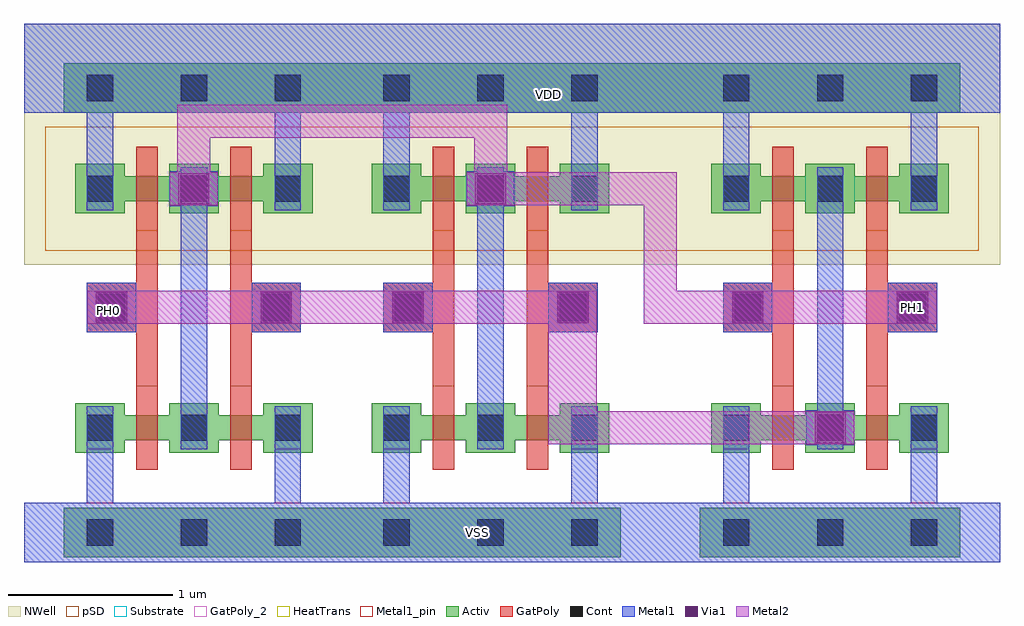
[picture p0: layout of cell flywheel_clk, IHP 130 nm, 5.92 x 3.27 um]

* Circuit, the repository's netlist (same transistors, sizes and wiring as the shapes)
* Extracted by KLayout with SG13G2 LVS runset on : 04/03/2026 01:28

.SUBCKT flywheel_clk PH0 VSS PH1 VDD
X$1 PH1 VSS VDD PH0 inv_d4
X$2 PH1 VSS VDD PH0 inv_d2
.ENDS flywheel_clk

.SUBCKT inv_d4 VOUT VSS VDD VIN
X$1 VIN VSS VDD VOUT inv_d2
X$2 VIN VSS VDD VOUT inv_d2
.ENDS inv_d4

.SUBCKT inv_d2 VIN VSS VDD VOUT
M$1 VSS VIN VOUT VSS sg13_lv_nmos L=0.13u W=0.3u AS=0.156p AD=0.156p PS=2.08u
+ PD=2.08u
M$3 VDD VIN VOUT VDD sg13_lv_pmos L=0.13u W=0.3u AS=0.156p AD=0.156p PS=2.08u
+ PD=2.08u
.ENDS inv_d2

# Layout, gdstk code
from math import pi, radians
import gdstk
lib = gdstk.Library(unit=1e-6, precision=5e-09)
def R(c, l, rs):  # rectangles x0, y0, x1, y1
    for r in rs: c.add(gdstk.rectangle(r[:2], r[2:], *l))
Activ = (1, 0)
GatPoly = (5, 0)
GatPoly_2 = (5, 2)
Cont = (6, 0)
Metal1 = (8, 0)
Metal1_pin = (8, 2)
Metal2 = (10, 0)
pSD = (14, 0)
Via1 = (19, 0)
NWell = (31, 0)
Substrate = (40, 0)
HeatTrans = (51, 0)

pmos_1 = lib.new_cell('pmos$1')
R(pmos_1, Activ, [(0,0,0.3,0.3), (0.57,0,0.87,0.3), (0,0.075,0.87,0.225)])
R(pmos_1, GatPoly, [(0.37,-0.105,0.5,0.405), (0.37,-0.105,0.5,0.405)])
R(pmos_1, Cont, [(0.07,0.07,0.23,0.23), (0.64,0.07,0.8,0.23)])
R(pmos_1, Metal1, [(0.07,0.02,0.23,0.28), (0.07,0.02,0.23,0.28), (0.64,0.02,0.8,0.28), (0.64,0.02,0.8,0.28)])
R(pmos_1, pSD, [(-0.18,-0.225,1.05,0.525)])
R(pmos_1, NWell, [(-0.31,-0.31,1.18,0.61)])
R(pmos_1, Substrate, [(0.57,0,0.87,0.3)])
R(pmos_1, HeatTrans, [(0.37,-0.105,0.5,0.405)])
pmos_1.add(gdstk.Label('pmos', (0.435,0.15), layer=63, texttype=0))
pmos_1.add(gdstk.Label('pmos', (0.435,0.15), layer=51, texttype=0))

nmos_1 = lib.new_cell('nmos$1')
R(nmos_1, Activ, [(0,0,0.3,0.3), (0.57,0,0.87,0.3), (0,0.075,0.87,0.225)])
R(nmos_1, GatPoly, [(0.37,-0.105,0.5,0.405)])
R(nmos_1, GatPoly_2, [(0.37,-0.105,0.5,0.405)])
R(nmos_1, Cont, [(0.07,0.07,0.23,0.23), (0.64,0.07,0.8,0.23)])
R(nmos_1, Metal1, [(0.07,0.02,0.23,0.28), (0.64,0.02,0.8,0.28)])
R(nmos_1, Metal1_pin, [(0.07,0.02,0.23,0.28), (0.64,0.02,0.8,0.28)])
R(nmos_1, HeatTrans, [(0.37,-0.105,0.5,0.405)])
nmos_1.add(gdstk.Label('nmos', (0.435,0.15), layer=63, texttype=0))
nmos_1.add(gdstk.Label('nmos', (0.435,0.15), layer=51, texttype=0))

pmos_1_1 = lib.new_cell('pmos$1$1')
R(pmos_1_1, Activ, [(0,0,0.3,0.3), (0.57,0,0.87,0.3), (0,0.075,0.87,0.225)])
R(pmos_1_1, GatPoly, [(0.37,-0.105,0.5,0.405), (0.37,-0.105,0.5,0.405)])
R(pmos_1_1, Cont, [(0.07,0.07,0.23,0.23), (0.64,0.07,0.8,0.23)])
R(pmos_1_1, Metal1, [(0.07,0.02,0.23,0.28), (0.07,0.02,0.23,0.28), (0.64,0.02,0.8,0.28), (0.64,0.02,0.8,0.28)])
R(pmos_1_1, pSD, [(-0.18,-0.225,1.05,0.525)])
R(pmos_1_1, NWell, [(-0.31,-0.31,1.18,0.61)])
R(pmos_1_1, Substrate, [(0.57,0,0.87,0.3)])
R(pmos_1_1, HeatTrans, [(0.37,-0.105,0.5,0.405)])
pmos_1_1.add(gdstk.Label('pmos', (0.435,0.15), layer=63, texttype=0))
pmos_1_1.add(gdstk.Label('pmos', (0.435,0.15), layer=51, texttype=0))

nmos_1_1 = lib.new_cell('nmos$1$1')
R(nmos_1_1, Activ, [(0,0,0.3,0.3), (0.57,0,0.87,0.3), (0,0.075,0.87,0.225)])
R(nmos_1_1, GatPoly, [(0.37,-0.105,0.5,0.405)])
R(nmos_1_1, GatPoly_2, [(0.37,-0.105,0.5,0.405)])
R(nmos_1_1, Cont, [(0.07,0.07,0.23,0.23), (0.64,0.07,0.8,0.23)])
R(nmos_1_1, Metal1, [(0.07,0.02,0.23,0.28), (0.64,0.02,0.8,0.28)])
R(nmos_1_1, Metal1_pin, [(0.07,0.02,0.23,0.28), (0.64,0.02,0.8,0.28)])
R(nmos_1_1, HeatTrans, [(0.37,-0.105,0.5,0.405)])
nmos_1_1.add(gdstk.Label('nmos', (0.435,0.15), layer=63, texttype=0))
nmos_1_1.add(gdstk.Label('nmos', (0.435,0.15), layer=51, texttype=0))

pmos_1_2 = lib.new_cell('pmos$1$2')
R(pmos_1_2, Activ, [(0,0,0.3,0.3), (0.57,0,0.87,0.3), (0,0.075,0.87,0.225)])
R(pmos_1_2, GatPoly, [(0.37,-0.105,0.5,0.405), (0.37,-0.105,0.5,0.405)])
R(pmos_1_2, Cont, [(0.07,0.07,0.23,0.23), (0.64,0.07,0.8,0.23)])
R(pmos_1_2, Metal1, [(0.07,0.02,0.23,0.28), (0.07,0.02,0.23,0.28), (0.64,0.02,0.8,0.28), (0.64,0.02,0.8,0.28)])
R(pmos_1_2, pSD, [(-0.18,-0.225,1.05,0.525)])
R(pmos_1_2, NWell, [(-0.31,-0.31,1.18,0.61)])
R(pmos_1_2, Substrate, [(0.57,0,0.87,0.3)])
R(pmos_1_2, HeatTrans, [(0.37,-0.105,0.5,0.405)])
pmos_1_2.add(gdstk.Label('pmos', (0.435,0.15), layer=63, texttype=0))
pmos_1_2.add(gdstk.Label('pmos', (0.435,0.15), layer=51, texttype=0))

nmos_1_2 = lib.new_cell('nmos$1$2')
R(nmos_1_2, Activ, [(0,0,0.3,0.3), (0.57,0,0.87,0.3), (0,0.075,0.87,0.225)])
R(nmos_1_2, GatPoly, [(0.37,-0.105,0.5,0.405)])
R(nmos_1_2, GatPoly_2, [(0.37,-0.105,0.5,0.405)])
R(nmos_1_2, Cont, [(0.07,0.07,0.23,0.23), (0.64,0.07,0.8,0.23)])
R(nmos_1_2, Metal1, [(0.07,0.02,0.23,0.28), (0.64,0.02,0.8,0.28)])
R(nmos_1_2, Metal1_pin, [(0.07,0.02,0.23,0.28), (0.64,0.02,0.8,0.28)])
R(nmos_1_2, HeatTrans, [(0.37,-0.105,0.5,0.405)])
nmos_1_2.add(gdstk.Label('nmos', (0.435,0.15), layer=63, texttype=0))
nmos_1_2.add(gdstk.Label('nmos', (0.435,0.15), layer=51, texttype=0))

pmos_1_3 = lib.new_cell('pmos$1$3')
R(pmos_1_3, Activ, [(0,0,0.3,0.3), (0.57,0,0.87,0.3), (0,0.075,0.87,0.225)])
R(pmos_1_3, GatPoly, [(0.37,-0.105,0.5,0.405), (0.37,-0.105,0.5,0.405)])
R(pmos_1_3, Cont, [(0.07,0.07,0.23,0.23), (0.64,0.07,0.8,0.23)])
R(pmos_1_3, Metal1, [(0.07,0.02,0.23,0.28), (0.07,0.02,0.23,0.28), (0.64,0.02,0.8,0.28), (0.64,0.02,0.8,0.28)])
R(pmos_1_3, pSD, [(-0.18,-0.225,1.05,0.525)])
R(pmos_1_3, NWell, [(-0.31,-0.31,1.18,0.61)])
R(pmos_1_3, Substrate, [(0.57,0,0.87,0.3)])
R(pmos_1_3, HeatTrans, [(0.37,-0.105,0.5,0.405)])
pmos_1_3.add(gdstk.Label('pmos', (0.435,0.15), layer=63, texttype=0))
pmos_1_3.add(gdstk.Label('pmos', (0.435,0.15), layer=51, texttype=0))

nmos_1_3 = lib.new_cell('nmos$1$3')
R(nmos_1_3, Activ, [(0,0,0.3,0.3), (0.57,0,0.87,0.3), (0,0.075,0.87,0.225)])
R(nmos_1_3, GatPoly, [(0.37,-0.105,0.5,0.405)])
R(nmos_1_3, GatPoly_2, [(0.37,-0.105,0.5,0.405)])
R(nmos_1_3, Cont, [(0.07,0.07,0.23,0.23), (0.64,0.07,0.8,0.23)])
R(nmos_1_3, Metal1, [(0.07,0.02,0.23,0.28), (0.64,0.02,0.8,0.28)])
R(nmos_1_3, Metal1_pin, [(0.07,0.02,0.23,0.28), (0.64,0.02,0.8,0.28)])
R(nmos_1_3, HeatTrans, [(0.37,-0.105,0.5,0.405)])
nmos_1_3.add(gdstk.Label('nmos', (0.435,0.15), layer=63, texttype=0))
nmos_1_3.add(gdstk.Label('nmos', (0.435,0.15), layer=51, texttype=0))

pmos_1_4 = lib.new_cell('pmos$1$4')
R(pmos_1_4, Activ, [(0,0,0.3,0.3), (0.57,0,0.87,0.3), (0,0.075,0.87,0.225)])
R(pmos_1_4, GatPoly, [(0.37,-0.105,0.5,0.405), (0.37,-0.105,0.5,0.405)])
R(pmos_1_4, Cont, [(0.07,0.07,0.23,0.23), (0.64,0.07,0.8,0.23)])
R(pmos_1_4, Metal1, [(0.07,0.02,0.23,0.28), (0.07,0.02,0.23,0.28), (0.64,0.02,0.8,0.28), (0.64,0.02,0.8,0.28)])
R(pmos_1_4, pSD, [(-0.18,-0.225,1.05,0.525)])
R(pmos_1_4, NWell, [(-0.31,-0.31,1.18,0.61)])
R(pmos_1_4, Substrate, [(0.57,0,0.87,0.3)])
R(pmos_1_4, HeatTrans, [(0.37,-0.105,0.5,0.405)])
pmos_1_4.add(gdstk.Label('pmos', (0.435,0.15), layer=63, texttype=0))
pmos_1_4.add(gdstk.Label('pmos', (0.435,0.15), layer=51, texttype=0))

nmos_1_4 = lib.new_cell('nmos$1$4')
R(nmos_1_4, Activ, [(0,0,0.3,0.3), (0.57,0,0.87,0.3), (0,0.075,0.87,0.225)])
R(nmos_1_4, GatPoly, [(0.37,-0.105,0.5,0.405)])
R(nmos_1_4, GatPoly_2, [(0.37,-0.105,0.5,0.405)])
R(nmos_1_4, Cont, [(0.07,0.07,0.23,0.23), (0.64,0.07,0.8,0.23)])
R(nmos_1_4, Metal1, [(0.07,0.02,0.23,0.28), (0.64,0.02,0.8,0.28)])
R(nmos_1_4, Metal1_pin, [(0.07,0.02,0.23,0.28), (0.64,0.02,0.8,0.28)])
R(nmos_1_4, HeatTrans, [(0.37,-0.105,0.5,0.405)])
nmos_1_4.add(gdstk.Label('nmos', (0.435,0.15), layer=63, texttype=0))
nmos_1_4.add(gdstk.Label('nmos', (0.435,0.15), layer=51, texttype=0))

pmos_1_1_1 = lib.new_cell('pmos$1$1$1')
R(pmos_1_1_1, Activ, [(0,0,0.3,0.3), (0.57,0,0.87,0.3), (0,0.075,0.87,0.225)])
R(pmos_1_1_1, GatPoly, [(0.37,-0.105,0.5,0.405), (0.37,-0.105,0.5,0.405)])
R(pmos_1_1_1, Cont, [(0.07,0.07,0.23,0.23), (0.64,0.07,0.8,0.23)])
R(pmos_1_1_1, Metal1, [(0.07,0.02,0.23,0.28), (0.07,0.02,0.23,0.28), (0.64,0.02,0.8,0.28), (0.64,0.02,0.8,0.28)])
R(pmos_1_1_1, pSD, [(-0.18,-0.225,1.05,0.525)])
R(pmos_1_1_1, NWell, [(-0.31,-0.31,1.18,0.61)])
R(pmos_1_1_1, Substrate, [(0.57,0,0.87,0.3)])
R(pmos_1_1_1, HeatTrans, [(0.37,-0.105,0.5,0.405)])
pmos_1_1_1.add(gdstk.Label('pmos', (0.435,0.15), layer=63, texttype=0))
pmos_1_1_1.add(gdstk.Label('pmos', (0.435,0.15), layer=51, texttype=0))

nmos_1_1_1 = lib.new_cell('nmos$1$1$1')
R(nmos_1_1_1, Activ, [(0,0,0.3,0.3), (0.57,0,0.87,0.3), (0,0.075,0.87,0.225)])
R(nmos_1_1_1, GatPoly, [(0.37,-0.105,0.5,0.405)])
R(nmos_1_1_1, GatPoly_2, [(0.37,-0.105,0.5,0.405)])
R(nmos_1_1_1, Cont, [(0.07,0.07,0.23,0.23), (0.64,0.07,0.8,0.23)])
R(nmos_1_1_1, Metal1, [(0.07,0.02,0.23,0.28), (0.64,0.02,0.8,0.28)])
R(nmos_1_1_1, Metal1_pin, [(0.07,0.02,0.23,0.28), (0.64,0.02,0.8,0.28)])
R(nmos_1_1_1, HeatTrans, [(0.37,-0.105,0.5,0.405)])
nmos_1_1_1.add(gdstk.Label('nmos', (0.435,0.15), layer=63, texttype=0))
nmos_1_1_1.add(gdstk.Label('nmos', (0.435,0.15), layer=51, texttype=0))

pmos_1_2_1 = lib.new_cell('pmos$1$2$1')
R(pmos_1_2_1, Activ, [(0,0,0.3,0.3), (0.57,0,0.87,0.3), (0,0.075,0.87,0.225)])
R(pmos_1_2_1, GatPoly, [(0.37,-0.105,0.5,0.405), (0.37,-0.105,0.5,0.405)])
R(pmos_1_2_1, Cont, [(0.07,0.07,0.23,0.23), (0.64,0.07,0.8,0.23)])
R(pmos_1_2_1, Metal1, [(0.07,0.02,0.23,0.28), (0.07,0.02,0.23,0.28), (0.64,0.02,0.8,0.28), (0.64,0.02,0.8,0.28)])
R(pmos_1_2_1, pSD, [(-0.18,-0.225,1.05,0.525)])
R(pmos_1_2_1, NWell, [(-0.31,-0.31,1.18,0.61)])
R(pmos_1_2_1, Substrate, [(0.57,0,0.87,0.3)])
R(pmos_1_2_1, HeatTrans, [(0.37,-0.105,0.5,0.405)])
pmos_1_2_1.add(gdstk.Label('pmos', (0.435,0.15), layer=63, texttype=0))
pmos_1_2_1.add(gdstk.Label('pmos', (0.435,0.15), layer=51, texttype=0))

nmos_1_2_1 = lib.new_cell('nmos$1$2$1')
R(nmos_1_2_1, Activ, [(0,0,0.3,0.3), (0.57,0,0.87,0.3), (0,0.075,0.87,0.225)])
R(nmos_1_2_1, GatPoly, [(0.37,-0.105,0.5,0.405)])
R(nmos_1_2_1, GatPoly_2, [(0.37,-0.105,0.5,0.405)])
R(nmos_1_2_1, Cont, [(0.07,0.07,0.23,0.23), (0.64,0.07,0.8,0.23)])
R(nmos_1_2_1, Metal1, [(0.07,0.02,0.23,0.28), (0.64,0.02,0.8,0.28)])
R(nmos_1_2_1, Metal1_pin, [(0.07,0.02,0.23,0.28), (0.64,0.02,0.8,0.28)])
R(nmos_1_2_1, HeatTrans, [(0.37,-0.105,0.5,0.405)])
nmos_1_2_1.add(gdstk.Label('nmos', (0.435,0.15), layer=63, texttype=0))
nmos_1_2_1.add(gdstk.Label('nmos', (0.435,0.15), layer=51, texttype=0))

pmos_1_3_1 = lib.new_cell('pmos$1$3$1')
R(pmos_1_3_1, Activ, [(0,0,0.3,0.3), (0.57,0,0.87,0.3), (0,0.075,0.87,0.225)])
R(pmos_1_3_1, GatPoly, [(0.37,-0.105,0.5,0.405), (0.37,-0.105,0.5,0.405)])
R(pmos_1_3_1, Cont, [(0.07,0.07,0.23,0.23), (0.64,0.07,0.8,0.23)])
R(pmos_1_3_1, Metal1, [(0.07,0.02,0.23,0.28), (0.07,0.02,0.23,0.28), (0.64,0.02,0.8,0.28), (0.64,0.02,0.8,0.28)])
R(pmos_1_3_1, pSD, [(-0.18,-0.225,1.05,0.525)])
R(pmos_1_3_1, NWell, [(-0.31,-0.31,1.18,0.61)])
R(pmos_1_3_1, Substrate, [(0.57,0,0.87,0.3)])
R(pmos_1_3_1, HeatTrans, [(0.37,-0.105,0.5,0.405)])
pmos_1_3_1.add(gdstk.Label('pmos', (0.435,0.15), layer=63, texttype=0))
pmos_1_3_1.add(gdstk.Label('pmos', (0.435,0.15), layer=51, texttype=0))

nmos_1_3_1 = lib.new_cell('nmos$1$3$1')
R(nmos_1_3_1, Activ, [(0,0,0.3,0.3), (0.57,0,0.87,0.3), (0,0.075,0.87,0.225)])
R(nmos_1_3_1, GatPoly, [(0.37,-0.105,0.5,0.405)])
R(nmos_1_3_1, GatPoly_2, [(0.37,-0.105,0.5,0.405)])
R(nmos_1_3_1, Cont, [(0.07,0.07,0.23,0.23), (0.64,0.07,0.8,0.23)])
R(nmos_1_3_1, Metal1, [(0.07,0.02,0.23,0.28), (0.64,0.02,0.8,0.28)])
R(nmos_1_3_1, Metal1_pin, [(0.07,0.02,0.23,0.28), (0.64,0.02,0.8,0.28)])
R(nmos_1_3_1, HeatTrans, [(0.37,-0.105,0.5,0.405)])
nmos_1_3_1.add(gdstk.Label('nmos', (0.435,0.15), layer=63, texttype=0))
nmos_1_3_1.add(gdstk.Label('nmos', (0.435,0.15), layer=51, texttype=0))

pmos_1_5 = lib.new_cell('pmos$1$5')
R(pmos_1_5, Activ, [(0,0,0.3,0.3), (0.57,0,0.87,0.3), (0,0.075,0.87,0.225)])
R(pmos_1_5, GatPoly, [(0.37,-0.105,0.5,0.405), (0.37,-0.105,0.5,0.405)])
R(pmos_1_5, Cont, [(0.07,0.07,0.23,0.23), (0.64,0.07,0.8,0.23)])
R(pmos_1_5, Metal1, [(0.07,0.02,0.23,0.28), (0.07,0.02,0.23,0.28), (0.64,0.02,0.8,0.28), (0.64,0.02,0.8,0.28)])
R(pmos_1_5, pSD, [(-0.18,-0.225,1.05,0.525)])
R(pmos_1_5, NWell, [(-0.31,-0.31,1.18,0.61)])
R(pmos_1_5, Substrate, [(0.57,0,0.87,0.3)])
R(pmos_1_5, HeatTrans, [(0.37,-0.105,0.5,0.405)])
pmos_1_5.add(gdstk.Label('pmos', (0.435,0.15), layer=63, texttype=0))
pmos_1_5.add(gdstk.Label('pmos', (0.435,0.15), layer=51, texttype=0))

nmos_1_5 = lib.new_cell('nmos$1$5')
R(nmos_1_5, Activ, [(0,0,0.3,0.3), (0.57,0,0.87,0.3), (0,0.075,0.87,0.225)])
R(nmos_1_5, GatPoly, [(0.37,-0.105,0.5,0.405)])
R(nmos_1_5, GatPoly_2, [(0.37,-0.105,0.5,0.405)])
R(nmos_1_5, Cont, [(0.07,0.07,0.23,0.23), (0.64,0.07,0.8,0.23)])
R(nmos_1_5, Metal1, [(0.07,0.02,0.23,0.28), (0.64,0.02,0.8,0.28)])
R(nmos_1_5, Metal1_pin, [(0.07,0.02,0.23,0.28), (0.64,0.02,0.8,0.28)])
R(nmos_1_5, HeatTrans, [(0.37,-0.105,0.5,0.405)])
nmos_1_5.add(gdstk.Label('nmos', (0.435,0.15), layer=63, texttype=0))
nmos_1_5.add(gdstk.Label('nmos', (0.435,0.15), layer=51, texttype=0))

inv = lib.new_cell('inv')
R(inv, Activ, [(0.48,-0.04,1.49,0.26), (0.48,-0.04,1.49,0.26), (0.48,-0.04,1.49,0.26), (0.48,-0.04,1.49,0.26), (0.48,-0.04,1.49,0.26), (0.48,-0.04,1.49,0.26), (0.48,-0.04,1.49,0.26), (0.48,-0.04,1.49,0.26), (0.48,-0.04,1.49,0.26), (0.48,2.655,1.49,2.955), (0.48,2.655,1.49,2.955), (0.48,2.655,1.49,2.955), (0.48,2.655,1.49,2.955), (0.48,2.655,1.49,2.955), (0.48,2.655,1.49,2.955), (0.48,2.655,1.49,2.955), (0.48,2.655,1.49,2.955), (0.48,2.655,1.49,2.955)])
R(inv, GatPoly, [(0.92,0.76,1.05,2.45), (0.92,0.76,1.05,2.45), (0.92,0.76,1.05,2.45), (0.92,0.76,1.05,2.45), (0.92,0.76,1.05,2.45), (0.92,0.76,1.05,2.45), (0.92,0.76,1.05,2.45), (0.92,0.76,1.05,2.45), (0.92,0.76,1.05,2.45), (0.62,1.325,0.92,1.625), (0.62,1.325,0.92,1.625), (0.62,1.325,0.92,1.625), (0.62,1.325,0.92,1.625), (0.62,1.325,0.92,1.625), (0.62,1.325,0.92,1.625), (0.62,1.325,0.92,1.625), (0.62,1.325,0.92,1.625), (0.62,1.325,0.92,1.625)])
R(inv, Cont, [(0.62,0.03,0.78,0.19), (0.62,0.03,0.78,0.19), (0.62,0.03,0.78,0.19), (0.62,0.03,0.78,0.19), (0.62,0.03,0.78,0.19), (0.62,0.03,0.78,0.19), (0.62,0.03,0.78,0.19), (0.62,0.03,0.78,0.19), (0.62,0.03,0.78,0.19), (1.19,0.03,1.35,0.19), (1.19,0.03,1.35,0.19), (1.19,0.03,1.35,0.19), (1.19,0.03,1.35,0.19), (1.19,0.03,1.35,0.19), (1.19,0.03,1.35,0.19), (1.19,0.03,1.35,0.19), (1.19,0.03,1.35,0.19), (1.19,0.03,1.35,0.19), (0.69,1.395,0.85,1.555), (0.69,1.395,0.85,1.555), (0.69,1.395,0.85,1.555), (0.69,1.395,0.85,1.555), (0.69,1.395,0.85,1.555), (0.69,1.395,0.85,1.555), (0.69,1.395,0.85,1.555), (0.69,1.395,0.85,1.555), (0.69,1.395,0.85,1.555), (0.62,2.725,0.78,2.885), (0.62,2.725,0.78,2.885), (0.62,2.725,0.78,2.885), (0.62,2.725,0.78,2.885), (0.62,2.725,0.78,2.885), (0.62,2.725,0.78,2.885), (0.62,2.725,0.78,2.885), (0.62,2.725,0.78,2.885), (0.62,2.725,0.78,2.885), (1.19,2.725,1.35,2.885), (1.19,2.725,1.35,2.885), (1.19,2.725,1.35,2.885), (1.19,2.725,1.35,2.885), (1.19,2.725,1.35,2.885), (1.19,2.725,1.35,2.885), (1.19,2.725,1.35,2.885), (1.19,2.725,1.35,2.885), (1.19,2.725,1.35,2.885)])
R(inv, Metal1, [(0.24,-0.07,1.73,0.29), (0.24,-0.07,1.73,0.29), (0.24,-0.07,1.73,0.29), (0.24,-0.07,1.73,0.29), (0.24,-0.07,1.73,0.29), (0.24,-0.07,1.73,0.29), (0.24,-0.07,1.73,0.29), (0.24,-0.07,1.73,0.29), (0.24,-0.07,1.73,0.29), (0.62,-0.04,0.78,0.875), (0.62,-0.04,0.78,0.875), (0.62,-0.04,0.78,0.875), (0.62,-0.04,0.78,0.875), (0.62,-0.04,0.78,0.875), (0.62,-0.04,0.78,0.875), (0.62,-0.04,0.78,0.875), (0.62,-0.04,0.78,0.875), (0.62,-0.04,0.78,0.875), (1.19,0.615,1.35,2.325), (1.19,0.615,1.35,2.325), (1.19,0.615,1.35,2.325), (1.19,0.615,1.35,2.325), (1.19,0.615,1.35,2.325), (1.19,0.615,1.35,2.325), (1.19,0.615,1.35,2.325), (1.19,0.615,1.35,2.325), (1.19,0.615,1.35,2.325), (0.62,1.325,0.92,1.625), (0.62,1.325,0.92,1.625), (0.62,1.325,0.92,1.625), (0.62,1.325,0.92,1.625), (0.62,1.325,0.92,1.625), (0.62,1.325,0.92,1.625), (0.62,1.325,0.92,1.625), (0.62,1.325,0.92,1.625), (0.62,1.325,0.92,1.625), (0.62,2.065,0.78,2.955), (0.62,2.065,0.78,2.955), (0.62,2.065,0.78,2.955), (0.62,2.065,0.78,2.955), (0.62,2.065,0.78,2.955), (0.62,2.065,0.78,2.955), (0.62,2.065,0.78,2.955), (0.62,2.065,0.78,2.955), (0.62,2.065,0.78,2.955), (0.24,2.655,1.73,3.195), (0.24,2.655,1.73,3.195), (0.24,2.655,1.73,3.195), (0.24,2.655,1.73,3.195), (0.24,2.655,1.73,3.195), (0.24,2.655,1.73,3.195), (0.24,2.655,1.73,3.195), (0.24,2.655,1.73,3.195), (0.24,2.655,1.73,3.195)])
R(inv, Metal1_pin, [(0.24,-0.07,1.73,0.29), (0.24,-0.07,1.73,0.29), (0.24,-0.07,1.73,0.29), (0.24,-0.07,1.73,0.29), (0.24,-0.07,1.73,0.29), (0.24,-0.07,1.73,0.29), (0.24,-0.07,1.73,0.29), (0.24,-0.07,1.73,0.29), (0.24,-0.07,1.73,0.29), (1.19,0.615,1.35,2.325), (1.19,0.615,1.35,2.325), (1.19,0.615,1.35,2.325), (1.19,0.615,1.35,2.325), (1.19,0.615,1.35,2.325), (1.19,0.615,1.35,2.325), (1.19,0.615,1.35,2.325), (1.19,0.615,1.35,2.325), (1.19,0.615,1.35,2.325), (0.62,1.325,0.92,1.625), (0.62,1.325,0.92,1.625), (0.62,1.325,0.92,1.625), (0.62,1.325,0.92,1.625), (0.62,1.325,0.92,1.625), (0.62,1.325,0.92,1.625), (0.62,1.325,0.92,1.625), (0.62,1.325,0.92,1.625), (0.62,1.325,0.92,1.625), (0.24,2.655,1.73,3.195), (0.24,2.655,1.73,3.195), (0.24,2.655,1.73,3.195), (0.24,2.655,1.73,3.195), (0.24,2.655,1.73,3.195), (0.24,2.655,1.73,3.195), (0.24,2.655,1.73,3.195), (0.24,2.655,1.73,3.195), (0.24,2.655,1.73,3.195)])
R(inv, pSD, [(0.24,-0.07,1.73,0.29), (0.24,-0.07,1.73,0.29), (0.24,-0.07,1.73,0.29), (0.24,-0.07,1.73,0.29), (0.24,-0.07,1.73,0.29), (0.24,-0.07,1.73,0.29), (0.24,-0.07,1.73,0.29), (0.24,-0.07,1.73,0.29), (0.24,-0.07,1.73,0.29)])
R(inv, NWell, [(0.24,2.655,1.73,3.195), (0.24,2.655,1.73,3.195), (0.24,2.655,1.73,3.195), (0.24,2.655,1.73,3.195), (0.24,2.655,1.73,3.195), (0.24,2.655,1.73,3.195), (0.24,2.655,1.73,3.195), (0.24,2.655,1.73,3.195), (0.24,2.655,1.73,3.195)])
inv.add(gdstk.Reference(pmos_1, (0.55,2.045)))
inv.add(gdstk.Reference(nmos_1, (0.55,0.595)))
inv.add(gdstk.Reference(pmos_1_1, (0.55,2.045)))
inv.add(gdstk.Reference(nmos_1_1, (0.55,0.595)))
inv.add(gdstk.Reference(pmos_1_2, (0.55,2.045)))
inv.add(gdstk.Reference(nmos_1_2, (0.55,0.595)))
inv.add(gdstk.Reference(pmos_1_3, (0.55,2.045)))
inv.add(gdstk.Reference(nmos_1_3, (0.55,0.595)))
inv.add(gdstk.Reference(pmos_1_4, (0.55,2.045)))
inv.add(gdstk.Reference(nmos_1_4, (0.55,0.595)))
inv.add(gdstk.Reference(pmos_1_1_1, (0.55,2.045)))
inv.add(gdstk.Reference(nmos_1_1_1, (0.55,0.595)))
inv.add(gdstk.Reference(pmos_1_2_1, (0.55,2.045)))
inv.add(gdstk.Reference(nmos_1_2_1, (0.55,0.595)))
inv.add(gdstk.Reference(pmos_1_3_1, (0.55,2.045)))
inv.add(gdstk.Reference(nmos_1_3_1, (0.55,0.595)))
inv.add(gdstk.Reference(pmos_1_5, (0.55,2.045)))
inv.add(gdstk.Reference(nmos_1_5, (0.55,0.595)))
inv.add(gdstk.Label('VSS', (0.64,0.09), layer=8, texttype=25))
inv.add(gdstk.Label('VDD', (0.675,2.805), layer=8, texttype=25))
inv.add(gdstk.Label('VIN', (0.73,1.475), layer=8, texttype=25))
inv.add(gdstk.Label('VOUT', (1.2,1.665), layer=8, texttype=25))
inv.add(gdstk.Label('VSS', (0.64,0.09), layer=8, texttype=25))
inv.add(gdstk.Label('VDD', (0.675,2.805), layer=8, texttype=25))
inv.add(gdstk.Label('VIN', (0.73,1.475), layer=8, texttype=25))
inv.add(gdstk.Label('VOUT', (1.2,1.665), layer=8, texttype=25))
inv.add(gdstk.Label('VSS', (0.64,0.09), layer=8, texttype=25))
inv.add(gdstk.Label('VDD', (0.675,2.805), layer=8, texttype=25))
inv.add(gdstk.Label('VIN', (0.73,1.475), layer=8, texttype=25))
inv.add(gdstk.Label('VOUT', (1.2,1.665), layer=8, texttype=25))
inv.add(gdstk.Label('VSS', (0.64,0.09), layer=8, texttype=25))
inv.add(gdstk.Label('VDD', (0.675,2.805), layer=8, texttype=25))
inv.add(gdstk.Label('VIN', (0.73,1.475), layer=8, texttype=25))
inv.add(gdstk.Label('VOUT', (1.2,1.665), layer=8, texttype=25))
inv.add(gdstk.Label('VSS', (0.64,0.09), layer=8, texttype=25))
inv.add(gdstk.Label('VDD', (0.675,2.805), layer=8, texttype=25))
inv.add(gdstk.Label('VIN', (0.73,1.475), layer=8, texttype=25))
inv.add(gdstk.Label('VOUT', (1.2,1.665), layer=8, texttype=25))
inv.add(gdstk.Label('VSS', (0.64,0.09), layer=8, texttype=25))
inv.add(gdstk.Label('VDD', (0.675,2.805), layer=8, texttype=25))
inv.add(gdstk.Label('VIN', (0.73,1.475), layer=8, texttype=25))
inv.add(gdstk.Label('VOUT', (1.2,1.665), layer=8, texttype=25))
inv.add(gdstk.Label('VSS', (0.64,0.09), layer=8, texttype=25))
inv.add(gdstk.Label('VDD', (0.675,2.805), layer=8, texttype=25))
inv.add(gdstk.Label('VIN', (0.73,1.475), layer=8, texttype=25))
inv.add(gdstk.Label('VOUT', (1.2,1.665), layer=8, texttype=25))
inv.add(gdstk.Label('VSS', (0.64,0.09), layer=8, texttype=25))
inv.add(gdstk.Label('VDD', (0.675,2.805), layer=8, texttype=25))
inv.add(gdstk.Label('VIN', (0.73,1.475), layer=8, texttype=25))
inv.add(gdstk.Label('VOUT', (1.2,1.665), layer=8, texttype=25))
inv.add(gdstk.Label('VSS', (0.64,0.09), layer=8, texttype=25))
inv.add(gdstk.Label('VDD', (0.675,2.805), layer=8, texttype=25))
inv.add(gdstk.Label('VIN', (0.73,1.475), layer=8, texttype=25))
inv.add(gdstk.Label('VOUT', (1.2,1.665), layer=8, texttype=25))

inv_d2 = lib.new_cell('inv_d2')
R(inv_d2, Metal1, [(0.625,1.705,0.915,1.915), (0.625,1.705,0.915,1.915), (1.625,1.705,1.915,1.915), (1.625,1.705,1.915,1.915)])
R(inv_d2, Metal1_pin, [(1.19,0.95,1.35,2.66), (1.19,0.95,1.35,2.66), (0.24,2.99,2.3,3.53), (0.24,2.99,2.3,3.53)])
R(inv_d2, Metal2, [(0.625,1.71,0.915,1.91), (0.625,1.71,0.915,1.91), (0.625,1.71,1.915,1.91), (0.625,1.71,1.915,1.91), (1.625,1.71,1.915,1.91), (1.625,1.71,1.915,1.91)])
R(inv_d2, Via1, [(0.675,1.715,0.865,1.905), (0.675,1.715,0.865,1.905), (1.675,1.715,1.865,1.905), (1.675,1.715,1.865,1.905)])
inv_d2.add(gdstk.Reference(inv, (0,0.335)))
inv_d2.add(gdstk.Reference(inv, (2.54,0.335), rotation=pi, x_reflection=True))
inv_d2.add(gdstk.Label('VDD', (1.27,3.14), layer=8, texttype=25))
inv_d2.add(gdstk.Label('VOUT', (1.26,1.49), layer=8, texttype=25))
inv_d2.add(gdstk.Label('VIN', (0.74,1.8), layer=8, texttype=25))
inv_d2.add(gdstk.Label('VSS', (1.27,0.445), layer=8, texttype=25))
inv_d2.add(gdstk.Label('VDD', (1.27,3.14), layer=8, texttype=25))
inv_d2.add(gdstk.Label('VOUT', (1.26,1.49), layer=8, texttype=25))
inv_d2.add(gdstk.Label('VIN', (0.74,1.8), layer=8, texttype=25))
inv_d2.add(gdstk.Label('VSS', (1.27,0.445), layer=8, texttype=25))

inv_d4 = lib.new_cell('inv_d4')
R(inv_d4, Activ, [(7.06,0.295,7.28,0.595), (7.06,2.99,7.28,3.29)])
R(inv_d4, Metal1, [(6.125,2.425,6.415,2.635), (7.925,2.425,8.215,2.635)])
R(inv_d4, Metal1_pin, [(5.24,0.265,9.1,0.625), (6.19,0.95,6.35,2.66), (7.99,0.95,8.15,2.66), (5.24,2.99,9.1,3.53)])
R(inv_d4, Metal2, [(6.67,1.71,7.67,1.91), (6.125,2.43,6.415,2.63), (7.925,2.43,8.215,2.63), (6.17,2.435,6.37,3.04), (7.97,2.435,8.17,3.04), (6.17,2.84,8.17,3.04)])
R(inv_d4, Via1, [(6.175,2.435,6.365,2.625), (7.975,2.435,8.165,2.625)])
inv_d4.add(gdstk.Reference(inv_d2, (5,0)))
inv_d4.add(gdstk.Reference(inv_d2, (6.8,0)))
inv_d4.add(gdstk.Label('VOUT', (6.245,1.985), layer=8, texttype=25))
inv_d4.add(gdstk.Label('VDD', (6.235,3.12), layer=8, texttype=25))
inv_d4.add(gdstk.Label('VSS', (6.215,0.425), layer=8, texttype=25))
inv_d4.add(gdstk.Label('VIN', (5.735,1.765), layer=8, texttype=25))

flywheel_clk = lib.new_cell('flywheel_clk')
R(flywheel_clk, Activ, [(8.86,2.99,9.34,3.29)])
R(flywheel_clk, Metal1, [(9.985,0.975,10.275,1.185)])
R(flywheel_clk, Metal1_pin, [(5.24,0.265,11.16,0.625), (5.24,2.99,11.16,3.53)])
R(flywheel_clk, Metal2, [(8.42,0.98,8.715,1.91), (8.42,0.98,10.275,1.18), (9.985,0.98,10.275,1.18), (9,1.71,9.78,1.91), (9,1.71,9.2,2.63), (7.925,2.43,9.2,2.63)])
R(flywheel_clk, pSD, [(8.97,2.155,9.23,2.905)])
R(flywheel_clk, Via1, [(10.035,0.985,10.225,1.175)])
flywheel_clk.add(gdstk.Reference(inv_d4, (0,0)))
flywheel_clk.add(gdstk.Reference(inv_d2, (8.86,0)))
flywheel_clk.add(gdstk.Label('VDD', (8.42,3.1), layer=8, texttype=25))
flywheel_clk.add(gdstk.Label('VSS', (7.99,0.445), layer=8, texttype=25))
flywheel_clk.add(gdstk.Label('PH0', (5.755,1.79), layer=8, texttype=25))
flywheel_clk.add(gdstk.Label('PH1', (10.63,1.81), layer=8, texttype=25))

lib.write_gds('flywheel_clk.gds')
